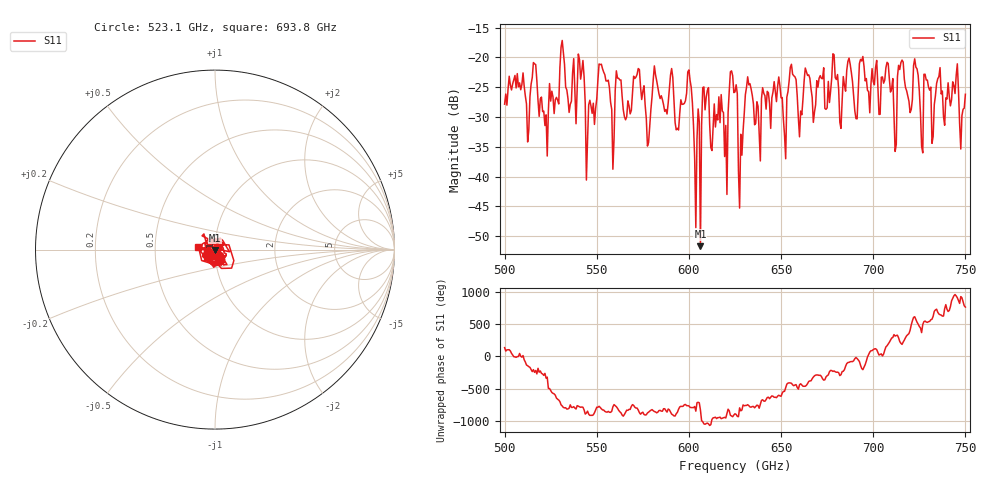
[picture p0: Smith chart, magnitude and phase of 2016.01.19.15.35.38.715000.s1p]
!Created with skrf (http://scikit-rf.org).
# GHz S RI R 50.0
!freq ReS11 ImS11
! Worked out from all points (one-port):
!   401 points, 500 GHz to 750 GHz, reference 50 ohm
!   lowest |S11| = -51.7 dB at 606.2 GHz (marker M1), VSWR 1.01, Z = 49.9 - j0.243 ohm
!   |S11| at or under -10 dB: start of sweep to end of sweep
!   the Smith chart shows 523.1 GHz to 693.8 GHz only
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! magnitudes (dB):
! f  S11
! 500 GHz  -27.9
! 516.2 GHz  -21.1
! 522.5 GHz  -29.6
! 531.2 GHz  -17.2
! 535 GHz  -29.2
! 541.2 GHz  -23.7
! 545 GHz  -33.9
! 552.5 GHz  -21.2
! 558.1 GHz  -28.7
! 562.5 GHz  -23.8
! 578.1 GHz  -34.3
! 581.2 GHz  -21.4
! 590.6 GHz  -21.9
! 593.8 GHz  -31.9
! 600 GHz  -22.1
! 605 GHz  -28.7
! 606.2 GHz  -51.7
! 609.4 GHz  -26.7
! 620 GHz  -31.4
! 625 GHz  -25.8
! 628.1 GHz  -32.9
! 631.9 GHz  -23.3
! 651.9 GHz  -33.1
! 656.2 GHz  -22.8
! 660.6 GHz  -29.0
! 687.5 GHz  -21.2
! 718.8 GHz  -26.5
! 750 GHz  -26.2
